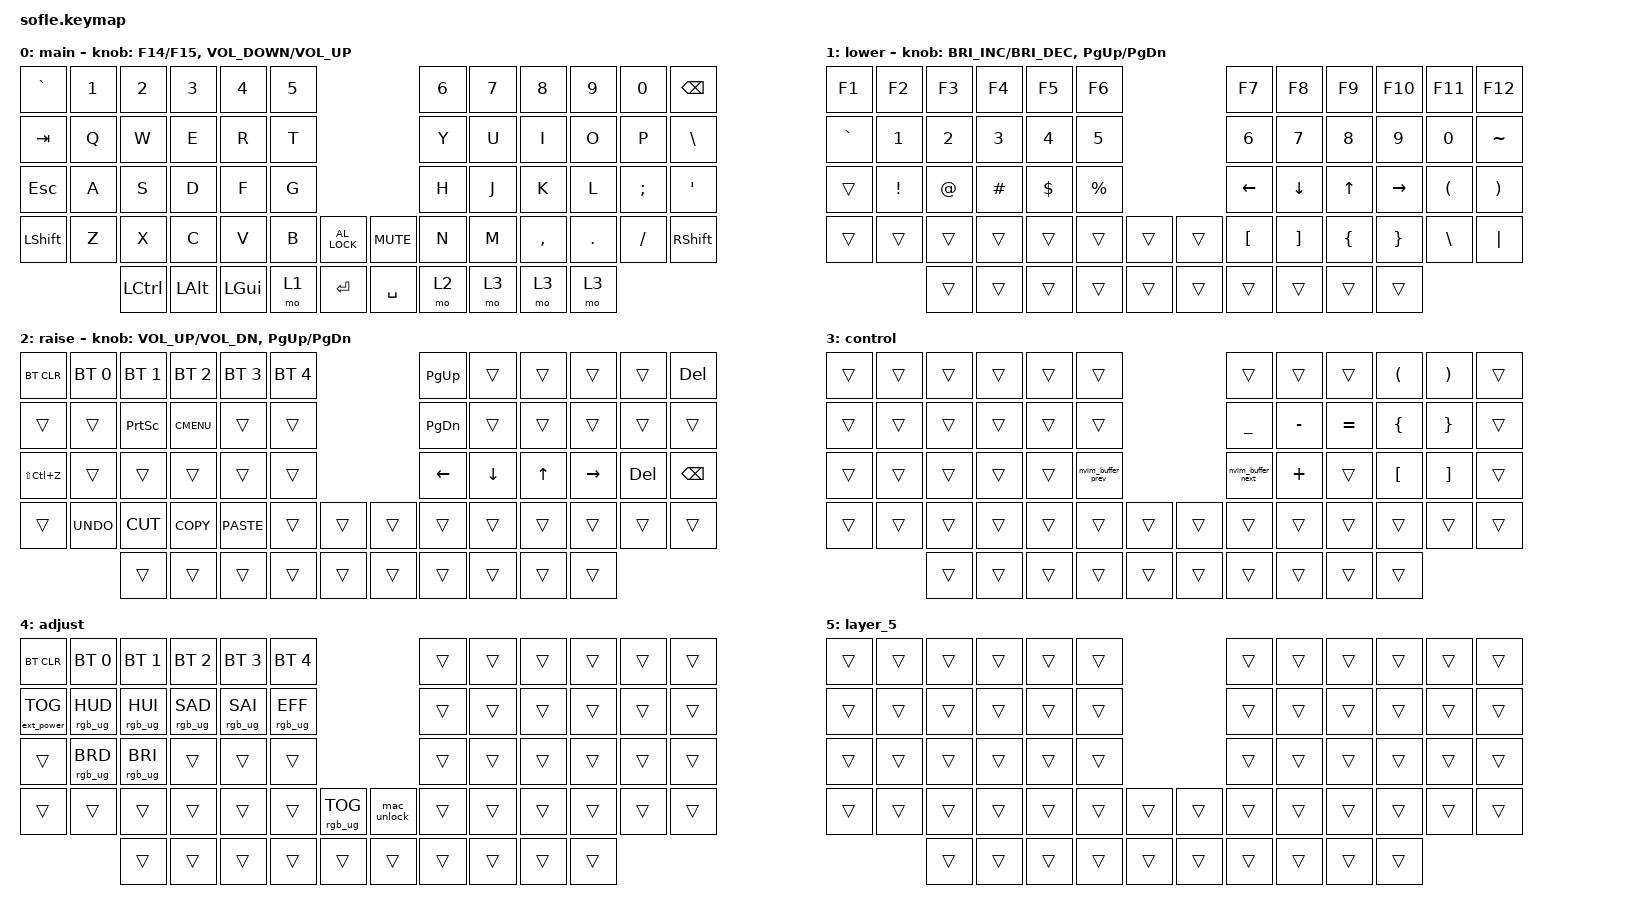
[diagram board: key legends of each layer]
/*
 * Copyright (c) 2020 The ZMK Contributors
 *
 * SPDX-License-Identifier: MIT
 */

#include <behaviors.dtsi>
#include <dt-bindings/zmk/bt.h>
#include <dt-bindings/zmk/ext_power.h>
#include <dt-bindings/zmk/keys.h>
#include <dt-bindings/zmk/rgb.h>

#define BASE 0
#define LOWER 1
#define RAISE 2
#define ADJUST 3

/ {
    // Activate ADJUST layer by pressing raise and lower

    conditional_layers {
        compatible = "zmk,conditional-layers";

        adjust_layer {
            if-layers = <1 2>;
            then-layer = <4>;
        };
    };

    combos {
        compatible = "zmk,combos";

        esc {
            bindings = <&kp ESCAPE>;
            key-positions = <31 32>;
        };
    };

    macros {
        nvim_buffer_prev: nvim_buffer_prev {
            compatible = "zmk,behavior-macro";
            #binding-cells = <0>;
            bindings = <&kp LEFT_BRACKET &kp B>;
            label = "NVIM_BUFFER_PREV";
        };

        nvim_buffer_next: nvim_buffer_next {
            compatible = "zmk,behavior-macro";
            #binding-cells = <0>;
            bindings = <&kp RIGHT_BRACKET &kp B>;
            label = "NVIM_BUFFER_NEXT";
        };

        mac_unlock: mac_unlock {
            compatible = "zmk,behavior-macro";
            #binding-cells = <0>;
            bindings = <&kp N1 &kp N0 &kp N0 &kp N4 &kp N0 &kp N1 &kp N1 &kp ENTER>;
            label = "MAC_UNLOCK";
        };
    };

    keymap {
        compatible = "zmk,keymap";

        main {
            label = "main";

            // ------------------------------------------------------------------------------------------------------------
            // |   `   |  1  |  2  |  3   |  4   |  5   |                   |  6   |  7    |  8    |  9   |   0   |       |
            // |  ESC  |  Q  |  W  |  E   |  R   |  T   |                   |  Y   |  U    |  I    |  O   |   P   | BKSPC |
            // |  TAB  |  A  |  S  |  D   |  F   |  G   |                   |  H   |  J    |  K    |  L   |   ;   |   '   |
            // | SHIFT |  Z  |  X  |  C   |  V   |  B   |  MUTE  |  |       |  N   |  M    |  ,    |  .   |   /   | SHIFT |
            //               | GUI | ALT  | CTRL | LOWER|  ENTER |  | SPACE | RAISE| CTRL  | ALT   | GUI  |

            bindings = <
&kp GRAVE  &kp N1  &kp N2     &kp N3    &kp N4    &kp N5                               &kp N6  &kp N7  &kp N8     &kp N9   &kp N0    &kp BACKSPACE
&kp TAB    &kp Q   &kp W      &kp E     &kp R     &kp T                                &kp Y   &kp U   &kp I      &kp O    &kp P     &kp BACKSLASH
&kp ESC    &kp A   &kp S      &kp D     &kp F     &kp G                                &kp H   &kp J   &kp K      &kp L    &kp SEMI  &kp SQT
&kp LSHFT  &kp Z   &kp X      &kp C     &kp V     &kp B   &kp C_AL_LOCK    &kp C_MUTE  &kp N   &kp M   &kp COMMA  &kp DOT  &kp FSLH  &kp RSHFT
                   &kp LCTRL  &kp LALT  &kp LGUI  &mo 1   &kp RET          &kp SPACE   &mo 2   &mo 3   &mo 3      &mo 3
            >;

            sensor-bindings =
                <&inc_dec_kp F14 F15>,
                <&inc_dec_kp C_VOLUME_DOWN C_VOLUME_UP>;
        };

        lower_layer {
            label = "lower";

            // TODO: Some binds are waiting for shifted keycode support.
            // ------------------------------------------------------------------------------------------------------------
            // |       |  F1 |  F2 |  F3  |  F4  |  F5  |                   |  F6  |  F7   |  F8   |  F9  |  F10  |  F11  |
            // |   `   |  1  |  2  |  3   |  4   |  5   |                   |  6   |  7    |  8    |  9   |   0   |  F12  |
            // |       |  !  |  @  |  #   |  $   |  %   |                   |  ^   |  &    |  *    |  (   |   )   |   |   |
            // |       |  =  |  -  |  +   |  {   |  }   |        |  |       |  [   |  ]    |  ;    |  :   |   \   |       |
            //               |     |      |      |      |        |  |       |      |       |       |      |

            bindings = <
&kp F1     &kp F2    &kp F3  &kp F4    &kp F5    &kp F6                       &kp F7    &kp F8    &kp F9          &kp F10          &kp F11   &kp F12
&kp GRAVE  &kp N1    &kp N2  &kp N3    &kp N4    &kp N5                       &kp N6    &kp N7    &kp N8          &kp N9           &kp N0    &kp TILDE
&trans     &kp EXCL  &kp AT  &kp HASH  &kp DLLR  &kp PRCNT                    &kp LEFT  &kp DOWN  &kp UP          &kp RIGHT        &kp LPAR  &kp RIGHT_PARENTHESIS
&trans     &trans    &trans  &trans    &trans    &trans     &trans    &trans  &kp LBKT  &kp RBKT  &kp LEFT_BRACE  &kp RIGHT_BRACE  &kp BSLH  &kp PIPE
                     &trans  &trans    &trans    &trans     &trans    &trans  &trans    &trans    &trans          &trans
            >;

            sensor-bindings =
                <&inc_dec_kp C_BRI_INC C_BRI_DEC>,
                <&inc_dec_kp PG_UP PG_DN>;
        };

        raise_layer {
            label = "raise";

            // ------------------------------------------------------------------------------------------------------------
            // | BTCLR | BT1  | BT2  |  BT3  |  BT4  |  BT5 |                |      |      |       |      |       |       |
            // |       | INS  | PSCR | GUI   |       |      |                | PGUP |      |   ^   |      |       |       |
            // |       | ALT  | CTRL | SHIFT |       | CAPS |                | PGDN |   <- |   v   |  ->  |  DEL  | BKSPC |
            // |       | UNDO | CUT  | COPY  | PASTE |      |      |  |      |      |      |       |      |       |       |
            //                |      |       |       |      |      |  |      |      |      |       |      |

            bindings = <
&bt BT_CLR     &bt BT_SEL 0  &bt BT_SEL 1  &bt BT_SEL 2  &bt BT_SEL 3  &bt BT_SEL 4                    &kp PG_UP       &trans          &trans        &trans     &trans   &kp DELETE
&trans         &trans        &kp PSCRN     &kp K_CMENU   &trans        &trans                          &kp PG_DN       &trans          &trans        &trans     &trans   &trans
&kp LS(LC(Z))  &trans        &trans        &trans        &trans        &trans                          &kp LEFT_ARROW  &kp DOWN_ARROW  &kp UP_ARROW  &kp RIGHT  &kp DEL  &kp BSPC
&trans         &kp K_UNDO    &kp K_CUT     &kp K_COPY    &kp K_PASTE   &trans        &trans    &trans  &trans          &trans          &trans        &trans     &trans   &trans
                             &trans        &trans        &trans        &trans        &trans    &trans  &trans          &trans          &trans        &trans
            >;

            sensor-bindings = <&inc_dec_kp C_VOL_UP C_VOL_DN &inc_dec_kp PG_UP PG_DN>;
        };

        control {
            bindings = <
&trans  &trans  &trans  &trans  &trans  &trans                               &trans             &trans     &trans     &kp LPAR          &kp RPAR           &trans
&trans  &trans  &trans  &trans  &trans  &trans                               &kp UNDERSCORE     &kp MINUS  &kp EQUAL  &kp LEFT_BRACE    &kp RIGHT_BRACE    &trans
&trans  &trans  &trans  &trans  &trans  &nvim_buffer_prev                    &nvim_buffer_next  &kp PLUS   &trans     &kp LEFT_BRACKET  &kp RIGHT_BRACKET  &trans
&trans  &trans  &trans  &trans  &trans  &trans             &trans    &trans  &trans             &trans     &trans     &trans            &trans             &trans
                &trans  &trans  &trans  &trans             &trans    &trans  &trans             &trans     &trans     &trans
            >;

            label = "control";
        };

        adjust_layer {
            // ----------------------------------------------------------------------------------------------------------------------------
            // | BTCLR  |  BT1    |  BT2    |   BT3   |   BT4   |   BT5   |                  |      |      |       |      |       |       |
            // | EXTPWR | RGB_HUD | RGB_HUI | RGB_SAD | RGB_SAI | RGB_EFF |                  |      |      |       |      |       |       |
            // |        | RGB_BRD | RGB_BRI |         |         |         |                  |      |      |       |      |       |       |
            // |        |         |         |         |         |         | RGB_TOG | |      |      |      |       |      |       |       |
            //                    |         |         |         |         |         | |      |      |      |       |      |

            label = "adjust";
            bindings = <
&bt BT_CLR         &bt BT_SEL 0     &bt BT_SEL 1     &bt BT_SEL 2     &bt BT_SEL 3     &bt BT_SEL 4                                     &trans  &trans  &trans  &trans  &trans  &trans
&ext_power EP_TOG  &rgb_ug RGB_HUD  &rgb_ug RGB_HUI  &rgb_ug RGB_SAD  &rgb_ug RGB_SAI  &rgb_ug RGB_EFF                                  &trans  &trans  &trans  &trans  &trans  &trans
&trans             &rgb_ug RGB_BRD  &rgb_ug RGB_BRI  &trans           &trans           &trans                                           &trans  &trans  &trans  &trans  &trans  &trans
&trans             &trans           &trans           &trans           &trans           &trans           &rgb_ug RGB_TOG    &mac_unlock  &trans  &trans  &trans  &trans  &trans  &trans
                                    &trans           &trans           &trans           &trans           &trans             &trans       &trans  &trans  &trans  &trans
            >;
        };

        layer_5 {
            bindings = <
&trans  &trans  &trans  &trans  &trans  &trans                    &trans  &trans  &trans  &trans  &trans  &trans
&trans  &trans  &trans  &trans  &trans  &trans                    &trans  &trans  &trans  &trans  &trans  &trans
&trans  &trans  &trans  &trans  &trans  &trans                    &trans  &trans  &trans  &trans  &trans  &trans
&trans  &trans  &trans  &trans  &trans  &trans  &trans    &trans  &trans  &trans  &trans  &trans  &trans  &trans
                &trans  &trans  &trans  &trans  &trans    &trans  &trans  &trans  &trans  &trans
            >;
        };
    };
};
